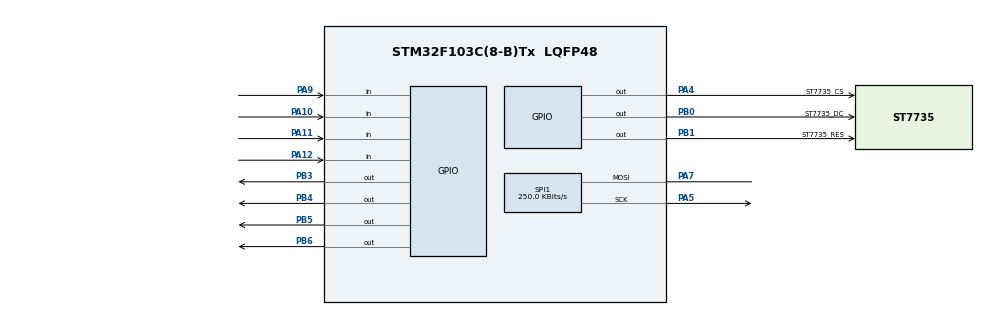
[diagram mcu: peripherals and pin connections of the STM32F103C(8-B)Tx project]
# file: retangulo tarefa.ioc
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Mcu.Family=STM32F1
Mcu.Name=STM32F103C(8-B)Tx
Mcu.Package=LQFP48
NVIC.PriorityGroup=NVIC_PRIORITYGROUP_4
PA10.Signal=GPIO_Input
PA11.Signal=GPIO_Input
PA12.Signal=GPIO_Input
PA4.GPIO_Label=ST7735_CS
PA4.Signal=GPIO_Output
PA5.Mode=Simplex_Bidirectional_Master
PA5.Signal=SPI1_SCK
PA7.Mode=Simplex_Bidirectional_Master
PA7.Signal=SPI1_MOSI
PA9.Signal=GPIO_Input
PB0.GPIO_Label=ST7735_DC
PB0.Signal=GPIO_Output
PB1.GPIO_Label=ST7735_RES
PB1.Signal=GPIO_Output
PB3.Signal=GPIO_Output
PB4.Signal=GPIO_Output
PB5.Signal=GPIO_Output
PB6.Signal=GPIO_Output
ProjectManager.HeapSize=0x200
ProjectManager.StackSize=0x400
ProjectManager.TargetToolchain=STM32CubeIDE
RCC.APB1Freq_Value=8000000
RCC.APB2Freq_Value=8000000
SPI1.BaudRatePrescaler=SPI_BAUDRATEPRESCALER_32
SPI1.CalculateBaudRate=250.0 KBits/s
SPI1.Direction=SPI_DIRECTION_1LINE
SPI1.Mode=SPI_MODE_MASTER
SPI1.VirtualType=VM_MASTER
VP_SYS_VS_ND.Mode=No_Debug
board=custom

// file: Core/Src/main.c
/* USER CODE BEGIN Header */
/**
  **************************
  * @file           : main.c
  * @brief          : Main program body
  **************************
  * @attention
  *
  * <h2><center>&copy; Copyright (c) 2024 STMicroelectronics.
  * All rights reserved.</center></h2>
  *
  * This software component is licensed by ST under BSD 3-Clause license,
  * the "License"; You may not use this file except in compliance with the
  * License. You may obtain a copy of the License at:
  *                        opensource.org/licenses/BSD-3-Clause
  *
  **************************
  */
/* USER CODE END Header */
#include "main.h"

/* USER CODE BEGIN Includes */
#include "ST7735/st7735.h"
/* USER CODE END Includes */

SPI_HandleTypeDef hspi1;

/* USER CODE BEGIN PV */

struct pixel{
 uint16_t x;
 uint16_t y;
 uint16_t cor;
} pixel;

typedef struct ret{
uint16_t x;
uint16_t y;
uint16_t w;
uint16_t h;
uint16_t cor;
} ret;

ret r1, r2;

/* USER CODE END PV */

void SystemClock_Config(void);
static void MX_GPIO_Init(void);
static void MX_SPI1_Init(void);

int main(void)
{

  /* MCU Configuration--------------------------------------------------------*/

  /* Reset of all peripherals, Initializes the Flash interface and the Systick. */
  HAL_Init();

  /* Configure the system clock */
  SystemClock_Config();

  /* Initialize all configured peripherals */
  MX_GPIO_Init();
  MX_SPI1_Init();
  /* USER CODE BEGIN 2 */
  ST7735_Init();
  /* USER CODE END 2 */

  /* Infinite loop */
  /* USER CODE BEGIN WHILE */
 	   pixel.x=80;
 	   pixel.y=80;
 	   pixel.cor=GREEN;

 	   r1.x = 10;
 	   r1.y = 5;
 	   r1.w = 5;
 	   r1.h = 10;
 	   r1.cor = WHITE;
 	   r2.x = 10;
 	   r2.y = 5;
 	   r2.w = 5;
 	   r2.h = 10;
 	   r2.cor = GREEN;
  while (1)
  {
	  ST7735_FillRectangle(r1.x,r1.y,r1.w,r1.h,r1.cor);
	  ST7735_DrawPixel(pixel.x,pixel.y,pixel.cor);
    /* USER CODE END WHILE */

  }
}

void SystemClock_Config(void)
{
  RCC_OscInitTypeDef RCC_OscInitStruct = {0};
  RCC_ClkInitTypeDef RCC_ClkInitStruct = {0};

  /** Initializes the RCC Oscillators according to the specified parameters
  * in the RCC_OscInitTypeDef structure.
  */
  RCC_OscInitStruct.OscillatorType = RCC_OSCILLATORTYPE_HSI;
  RCC_OscInitStruct.HSIState = RCC_HSI_ON;
  RCC_OscInitStruct.HSICalibrationValue = RCC_HSICALIBRATION_DEFAULT;
  RCC_OscInitStruct.PLL.PLLState = RCC_PLL_NONE;
  if (HAL_RCC_OscConfig(&RCC_OscInitStruct) != HAL_OK)
  {
    Error_Handler();
  }
  /** Initializes the CPU, AHB and APB buses clocks
  */
  RCC_ClkInitStruct.ClockType = RCC_CLOCKTYPE_HCLK|RCC_CLOCKTYPE_SYSCLK
                              |RCC_CLOCKTYPE_PCLK1|RCC_CLOCKTYPE_PCLK2;
  RCC_ClkInitStruct.SYSCLKSource = RCC_SYSCLKSOURCE_HSI;
  RCC_ClkInitStruct.AHBCLKDivider = RCC_SYSCLK_DIV1;
  RCC_ClkInitStruct.APB1CLKDivider = RCC_HCLK_DIV1;
  RCC_ClkInitStruct.APB2CLKDivider = RCC_HCLK_DIV1;

  if (HAL_RCC_ClockConfig(&RCC_ClkInitStruct, FLASH_LATENCY_0) != HAL_OK)
  {
    Error_Handler();
  }
}

static void MX_SPI1_Init(void)
{

  /* SPI1 parameter configuration*/
  hspi1.Instance = SPI1;
  hspi1.Init.Mode = SPI_MODE_MASTER;
  hspi1.Init.Direction = SPI_DIRECTION_1LINE;
  hspi1.Init.DataSize = SPI_DATASIZE_8BIT;
  hspi1.Init.CLKPolarity = SPI_POLARITY_HIGH;
  hspi1.Init.CLKPhase = SPI_PHASE_1EDGE;
  hspi1.Init.NSS = SPI_NSS_SOFT;
  hspi1.Init.BaudRatePrescaler = SPI_BAUDRATEPRESCALER_32;
  hspi1.Init.FirstBit = SPI_FIRSTBIT_MSB;
  hspi1.Init.TIMode = SPI_TIMODE_DISABLE;
  hspi1.Init.CRCCalculation = SPI_CRCCALCULATION_DISABLE;
  hspi1.Init.CRCPolynomial = 10;
  if (HAL_SPI_Init(&hspi1) != HAL_OK)
  {
    Error_Handler();
  }

}

static void MX_GPIO_Init(void)
{
  GPIO_InitTypeDef GPIO_InitStruct = {0};

  /* GPIO Ports Clock Enable */
  __HAL_RCC_GPIOA_CLK_ENABLE();
  __HAL_RCC_GPIOB_CLK_ENABLE();

  /*Configure GPIO pin Output Level */
  HAL_GPIO_WritePin(ST7735_CS_GPIO_Port, ST7735_CS_Pin, GPIO_PIN_RESET);

  /*Configure GPIO pin Output Level */
  HAL_GPIO_WritePin(GPIOB, ST7735_DC_Pin|ST7735_RES_Pin|GPIO_PIN_3|GPIO_PIN_4
                          |GPIO_PIN_5|GPIO_PIN_6, GPIO_PIN_RESET);

  /*Configure GPIO pin : ST7735_CS_Pin */
  GPIO_InitStruct.Pin = ST7735_CS_Pin;
  GPIO_InitStruct.Mode = GPIO_MODE_OUTPUT_PP;
  GPIO_InitStruct.Pull = GPIO_NOPULL;
  GPIO_InitStruct.Speed = GPIO_SPEED_FREQ_LOW;
  HAL_GPIO_Init(ST7735_CS_GPIO_Port, &GPIO_InitStruct);

  /*Configure GPIO pins : ST7735_DC_Pin ST7735_RES_Pin PB3 PB4
                           PB5 PB6 */
  GPIO_InitStruct.Pin = ST7735_DC_Pin|ST7735_RES_Pin|GPIO_PIN_3|GPIO_PIN_4
                          |GPIO_PIN_5|GPIO_PIN_6;
  GPIO_InitStruct.Mode = GPIO_MODE_OUTPUT_PP;
  GPIO_InitStruct.Pull = GPIO_NOPULL;
  GPIO_InitStruct.Speed = GPIO_SPEED_FREQ_LOW;
  HAL_GPIO_Init(GPIOB, &GPIO_InitStruct);

  /*Configure GPIO pins : PA9 PA10 PA11 PA12 */
  GPIO_InitStruct.Pin = GPIO_PIN_9|GPIO_PIN_10|GPIO_PIN_11|GPIO_PIN_12;
  GPIO_InitStruct.Mode = GPIO_MODE_INPUT;
  GPIO_InitStruct.Pull = GPIO_NOPULL;
  HAL_GPIO_Init(GPIOA, &GPIO_InitStruct);

}

/* USER CODE BEGIN 4 */
void DrawRectangle(ret* rect){
ST7735_FillRectangle(rect->x,rect->y,rect->w,rect->h,rect->cor);
}
/* USER CODE END 4 */

void Error_Handler(void)
{
  __disable_irq();
  while (1)
  {
  }
}

/******** (C) COPYRIGHT STMicroelectronics **END OF FILE*/
